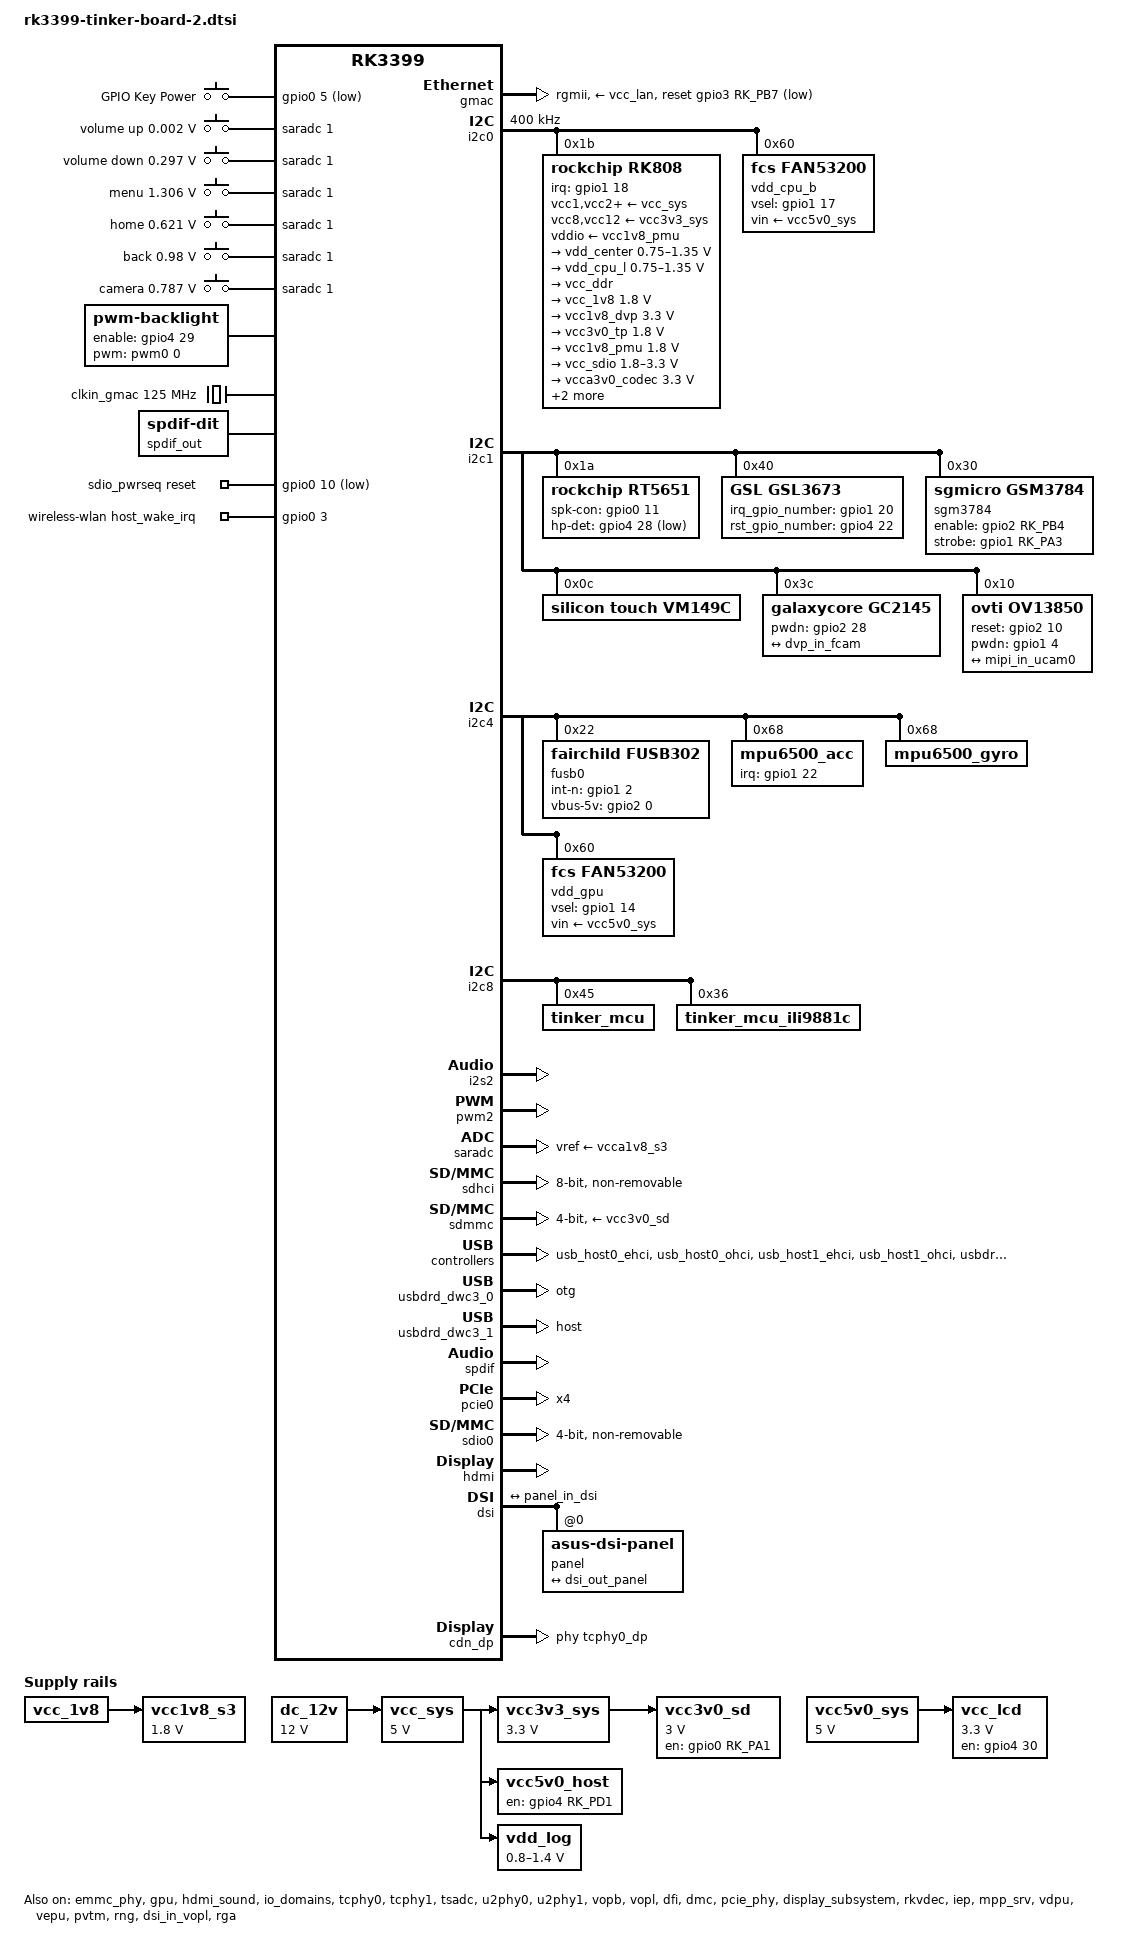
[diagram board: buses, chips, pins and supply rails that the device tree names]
// SPDX-License-Identifier: (GPL-2.0+ OR MIT)
/*
 * Copyright (c) 2017 Fuzhou Rockchip Electronics Co., Ltd.
 */

#include "dt-bindings/pwm/pwm.h"
#include "dt-bindings/input/input.h"
#include <dt-bindings/sensor-dev.h>
#include <dt-bindings/display/drm_mipi_dsi.h>
#include <dt-bindings/display/media-bus-format.h>
#include "rk3399.dtsi"
#include "rk3399-opp.dtsi"
#include "rk3399-vop-clk-set.dtsi"

/ {
	compatible = "rockchip,rk3399";

	chosen: chosen {
		bootargs = "earlycon=uart8250,mmio32,0xff1a0000 coherent_pool=1m";
	};

	cpuinfo {
		compatible = "rockchip,cpuinfo";
		nvmem-cells = <&cpu_id>;
		nvmem-cell-names = "id";
	};

	fiq_debugger: fiq-debugger {
		compatible = "rockchip,fiq-debugger";
		rockchip,serial-id = <2>;
		rockchip,wake-irq = <0>;
		rockchip,irq-mode-enable = <0>;  /* If enable uart uses irq instead of fiq */
		rockchip,baudrate = <115200>;  /* Only 115200 and 1500000 */
		pinctrl-names = "default";
		pinctrl-0 = <&uart2c_xfer>;
		interrupts = <GIC_SPI 150 IRQ_TYPE_LEVEL_HIGH 0>;
	};

	reserved-memory {
		#address-cells = <2>;
		#size-cells = <2>;
		ranges;

		drm_logo: drm-logo@00000000 {
			compatible = "rockchip,drm-logo";
			reg = <0x0 0x0 0x0 0x0>;
		};

		ramoops: ramoops@110000 {
			compatible = "ramoops";
			reg = <0x0 0x110000 0x0 0xf0000>;
			record-size = <0x20000>;
			console-size = <0x80000>;
			ftrace-size = <0x00000>;
			pmsg-size = <0x50000>;
		};

		secure_memory: secure-memory@20000000 {
			compatible = "rockchip,secure-memory";
			reg = <0x0 0x20000000 0x0 0x10000000>;
			status = "disabled";
		};

		stb_devinfo: stb-devinfo@00000000 {
			compatible = "rockchip,stb-devinfo";
			reg = <0x0 0x0 0x0 0x0>;
		};
	};

	gpio_keys: gpio-keys {
		compatible = "gpio-keys";
		autorepeat;
		pinctrl-names = "default";
		pinctrl-0 = <&pwrbtn>;

		power {
			debounce-interval = <100>;
			gpios = <&gpio0 5 GPIO_ACTIVE_LOW>;
			label = "GPIO Key Power";
			linux,code = <KEY_POWER>;
			wakeup-source;
		};
	};

	rga: rga@ff680000 {
		compatible = "rockchip,rga2";
		dev_mode = <1>;
		reg = <0x0 0xff680000 0x0 0x1000>;
		interrupts = <GIC_SPI 55 IRQ_TYPE_LEVEL_HIGH 0>;
		clocks = <&cru ACLK_RGA>, <&cru HCLK_RGA>, <&cru SCLK_RGA_CORE>;
		clock-names = "aclk_rga", "hclk_rga", "clk_rga";
		power-domains = <&power RK3399_PD_RGA>;
		status = "okay";
	};

	hdmi_dp_sound: hdmi-dp-sound {
		status = "disabled";
		compatible = "rockchip,rk3399-hdmi-dp";
		rockchip,cpu = <&i2s2>;
		rockchip,codec = <&hdmi>, <&cdn_dp>;
	};

	firmware {
		firmware_android: android {};
	};

	adc_keys: adc-keys {
		compatible = "adc-keys";
		io-channels = <&saradc 1>;
		io-channel-names = "buttons";
		keyup-threshold-microvolt = <1800000>;
		poll-interval = <100>;

		vol-up-key {
			label = "volume up";
			linux,code = <KEY_VOLUMEUP>;
			press-threshold-microvolt = <1750>;
		};

		vol-down-key {
			label = "volume down";
			linux,code = <KEY_VOLUMEDOWN>;
			press-threshold-microvolt = <297500>;
		};

		menu-key {
			label = "menu";
			linux,code = <KEY_MENU>;
			press-threshold-microvolt = <1305500>;
		};

		home-key {
			label = "home";
			linux,code = <KEY_HOME>;
			press-threshold-microvolt = <621250>;
		};

		back-key {
			label = "back";
			linux,code = <KEY_BACK>;
			press-threshold-microvolt = <980000>;
		};

		camera-key {
			label = "camera";
			linux,code = <KEY_CAMERA>;
			press-threshold-microvolt = <787500>;
		};
	};

	backlight: backlight {
		compatible = "pwm-backlight";
		status = "disabled";
		brightness-levels = <
			  0   1   2   3   4   5   6   7
			  8   9  10  11  12  13  14  15
			 16  17  18  19  20  21  22  23
			 24  25  26  27  28  29  30  31
			 32  33  34  35  36  37  38  39
			 40  41  42  43  44  45  46  47
			 48  49  50  51  52  53  54  55
			 56  57  58  59  60  61  62  63
			 64  65  66  67  68  69  70  71
			 72  73  74  75  76  77  78  79
			 80  81  82  83  84  85  86  87
			 88  89  90  91  92  93  94  95
			 96  97  98  99 100 101 102 103
			104 105 106 107 108 109 110 111
			112 113 114 115 116 117 118 119
			120 121 122 123 124 125 126 127
			128 129 130 131 132 133 134 135
			136 137 138 139 140 141 142 143
			144 145 146 147 148 149 150 151
			152 153 154 155 156 157 158 159
			160 161 162 163 164 165 166 167
			168 169 170 171 172 173 174 175
			176 177 178 179 180 181 182 183
			184 185 186 187 188 189 190 191
			192 193 194 195 196 197 198 199
			200 201 202 203 204 205 206 207
			208 209 210 211 212 213 214 215
			216 217 218 219 220 221 222 223
			224 225 226 227 228 229 230 231
			232 233 234 235 236 237 238 239
			240 241 242 243 244 245 246 247
			248 249 250 251 252 253 254 255>;
		default-brightness-level = <200>;
		pwms = <&pwm0 0 25000 0>;
	};

	clkin_gmac: external-gmac-clock {
		compatible = "fixed-clock";
		clock-frequency = <125000000>;
		clock-output-names = "clkin_gmac";
		#clock-cells = <0>;
	};

	dc_12v: dc-12v {
		compatible = "regulator-fixed";
		regulator-name = "dc_12v";
		regulator-always-on;
		regulator-boot-on;
		regulator-min-microvolt = <12000000>;
		regulator-max-microvolt = <12000000>;
	};

	dp_sound: dp-sound {
		status = "disabled";
		compatible = "rockchip,cdndp-sound";
		rockchip,cpu = <&spdif>;
		rockchip,codec = <&cdn_dp 1>;
	};

	/* switched by pmic_sleep */
	vcc1v8_s3: vcca1v8_s3: vcc1v8-s3 {
		compatible = "regulator-fixed";
		regulator-name = "vcc1v8_s3";
		regulator-always-on;
		regulator-boot-on;
		regulator-min-microvolt = <1800000>;
		regulator-max-microvolt = <1800000>;
		vin-supply = <&vcc_1v8>;
	};

	vcc3v0_sd: vcc3v0-sd {
		compatible = "regulator-fixed";
		enable-active-high;
		gpio = <&gpio0 RK_PA1 GPIO_ACTIVE_HIGH>;
		pinctrl-names = "default";
		pinctrl-0 = <&sdmmc0_pwr_h>;
		regulator-always-on;
		regulator-max-microvolt = <3000000>;
		regulator-min-microvolt = <3000000>;
		regulator-name = "vcc3v0_sd";
		vin-supply = <&vcc3v3_sys>;
	};

	vcc3v3_sys: vcc3v3-sys {
		compatible = "regulator-fixed";
		regulator-name = "vcc3v3_sys";
		regulator-always-on;
		regulator-boot-on;
		regulator-min-microvolt = <3300000>;
		regulator-max-microvolt = <3300000>;
		vin-supply = <&vcc_sys>;
	};

	vcc_sys: vcc-sys {
		compatible = "regulator-fixed";
		regulator-name = "vcc_sys";
		regulator-always-on;
		regulator-boot-on;
		regulator-min-microvolt = <5000000>;
		regulator-max-microvolt = <5000000>;
		vin-supply = <&dc_12v>;
	};

	vcc5v0_host: vcc5v0-host-regulator {
		compatible = "regulator-fixed";
		enable-active-high;
		gpio = <&gpio4 RK_PD1 GPIO_ACTIVE_HIGH>;
		pinctrl-names = "default";
		pinctrl-0 = <&vcc5v0_host_en>;
		regulator-name = "vcc5v0_host";
		regulator-always-on;
		vin-supply = <&vcc_sys>;
	};

	vcc5v0_sys: vcc5v0-sys {
		compatible = "regulator-fixed";
		regulator-name = "vcc5v0_sys";
		regulator-always-on;
		regulator-boot-on;
		regulator-min-microvolt = <5000000>;
		regulator-max-microvolt = <5000000>;
	};

	vdd_log: vdd-log {
		compatible = "pwm-regulator";
		pwms = <&pwm2 0 25000 1>;
		regulator-name = "vdd_log";
		regulator-always-on;
		regulator-boot-on;
		regulator-min-microvolt = <800000>;
		regulator-max-microvolt = <1400000>;
		vin-supply = <&vcc_sys>;
	};

	rt5651_sound: rt5651-sound {
		compatible = "simple-audio-card";
		simple-audio-card,format = "i2s";
		simple-audio-card,name = "realtek,rt5651-codec";
		simple-audio-card,mclk-fs = <256>;
		simple-audio-card,widgets =
			"Microphone", "Mic Jack",
			"Headphone", "Headphone Jack";
		simple-audio-card,routing =
			"Mic Jack", "MICBIAS1",
			"IN1P", "Mic Jack",
			"Headphone Jack", "HPOL",
			"Headphone Jack", "HPOR";
		simple-audio-card,cpu {
			sound-dai = <&i2s0>;
		};
		simple-audio-card,codec {
			sound-dai = <&rt5651>;
		};
	};

	spdif-sound {
		status = "okay";
		compatible = "simple-audio-card";
		simple-audio-card,name = "ROCKCHIP,SPDIF";
		simple-audio-card,cpu {
			sound-dai = <&spdif>;
		};
		simple-audio-card,codec {
			sound-dai = <&spdif_out>;
		};
	};

	spdif_out: spdif-out {
		status = "okay";
		compatible = "linux,spdif-dit";
		#sound-dai-cells = <0>;
	};

	sdio_pwrseq: sdio-pwrseq {
		compatible = "mmc-pwrseq-simple";
		clocks = <&rk808 1>;
		clock-names = "ext_clock";
		pinctrl-names = "default";
		pinctrl-0 = <&wifi_enable_h>;

		/*
		 * On the module itself this is one of these (depending
		 * on the actual card populated):
		 * - SDIO_RESET_L_WL_REG_ON
		 * - PDN (power down when low)
		 */
		reset-gpios = <&gpio0 10 GPIO_ACTIVE_LOW>; /* GPIO0_B2 */
	};

	wireless-wlan {
		compatible = "wlan-platdata";
		rockchip,grf = <&grf>;
		wifi_chip_type = "ap6354";
		sdio_vref = <1800>;
		WIFI,host_wake_irq = <&gpio0 3 GPIO_ACTIVE_HIGH>; /* GPIO0_a3 */
		status = "okay";
	};

	wireless-bluetooth {
		compatible = "bluetooth-platdata";
		clocks = <&rk808 1>;
		clock-names = "ext_clock";
		//wifi-bt-power-toggle;
		pinctrl-names = "default", "rts_gpio";
		pinctrl-0 = <&uart0_rts>, <&bt_reset_gpio>, <&bt_wake_gpio>, <&bt_irq_gpio>;
		//BT,power_gpio  = <&gpio3 19 GPIO_ACTIVE_HIGH>; /* GPIOx_xx */
		BT,reset_gpio    = <&gpio0 9 GPIO_ACTIVE_HIGH>; /* GPIO0_B1 */
		BT,wake_gpio     = <&gpio2 26 GPIO_ACTIVE_HIGH>; /* GPIO2_D2 */
		BT,wake_host_irq = <&gpio0 4 GPIO_ACTIVE_HIGH>; /* GPIO0_A4 */
		status = "disabled";
	};

	vcc_lcd: vcc-lcd {
		compatible = "regulator-fixed";
		regulator-name = "vcc_lcd";
		gpio = <&gpio4 30 GPIO_ACTIVE_HIGH>;
		startup-delay-us = <20000>;
		enable-active-high;
		regulator-min-microvolt = <3300000>;
		regulator-max-microvolt = <3300000>;
		regulator-boot-on;
		vin-supply = <&vcc5v0_sys>;
	};

	panel: panel {
		compatible = "simple-panel";
		status = "disabled";
		backlight = <&backlight>;
		power-supply = <&vcc_lcd>;
		enable-gpios = <&gpio1 13 GPIO_ACTIVE_HIGH>;
		prepare-delay-ms = <20>;
		enable-delay-ms = <20>;

		display-timings {
			native-mode = <&timing0>;

			timing0: timing0 {
				clock-frequency = <200000000>;
				hactive = <1536>;
				vactive = <2048>;
				hfront-porch = <12>;
				hsync-len = <16>;
				hback-porch = <48>;
				vfront-porch = <8>;
				vsync-len = <4>;
				vback-porch = <8>;
				hsync-active = <0>;
				vsync-active = <0>;
				de-active = <0>;
				pixelclk-active = <0>;
			};
		};

		ports {
			panel_in: endpoint {
				remote-endpoint = <&edp_out>;
			};
		};
	};

	test-power {
		status = "okay";
	};

	hdmiin_sound: hdmiin-sound {
		compatible = "rockchip,rockchip-rt5651-sound";
		rockchip,cpu = <&i2s0>;
		rockchip,codec = <&rt5651 &rt5651>;
		status = "okay";
	};
};

&cpu_l0 {
	cpu-supply = <&vdd_cpu_l>;
};

&cpu_l1 {
	cpu-supply = <&vdd_cpu_l>;
};

&cpu_l2 {
	cpu-supply = <&vdd_cpu_l>;
};

&cpu_l3 {
	cpu-supply = <&vdd_cpu_l>;
};

&cpu_b0 {
	cpu-supply = <&vdd_cpu_b>;
};

&cpu_b1 {
	cpu-supply = <&vdd_cpu_b>;
};

&emmc_phy {
	status = "okay";
};

&gmac {
	assigned-clocks = <&cru SCLK_RMII_SRC>;
	assigned-clock-parents = <&cru SCLK_MAC>;
	assigned-clock-rates = <125000000>;
	clock_in_out = "output";
	phy-supply = <&vcc_lan>;
	phy-mode = "rgmii";
	pinctrl-names = "default";
	pinctrl-0 = <&rgmii_pins>;
	snps,reset-gpio = <&gpio3 RK_PB7 GPIO_ACTIVE_LOW>;
	snps,reset-active-low;
	snps,reset-delays-us = <0 10000 50000>;
	tx_delay = <0x28>;
	rx_delay = <0x11>;
	status = "okay";
};

&gpu {
	mali-supply = <&vdd_gpu>;
	status = "okay";
};

&hdmi_sound {
	status = "okay";
};

&i2c0 {
	clock-frequency = <400000>;
	i2c-scl-rising-time-ns = <168>;
	i2c-scl-falling-time-ns = <4>;
	status = "okay";

	rk808: pmic@1b {
		compatible = "rockchip,rk808";
		reg = <0x1b>;
		interrupt-parent = <&gpio1>;
		interrupts = <18 IRQ_TYPE_LEVEL_LOW>;
		#clock-cells = <1>;
		clock-output-names = "xin32k", "rk808-clkout2";
		pinctrl-names = "default";
		pinctrl-0 = <&pmic_int_l &pmic_dvs2>;
		rockchip,system-power-controller;
		wakeup-source;

		vcc1-supply = <&vcc_sys>;
		vcc2-supply = <&vcc_sys>;
		vcc3-supply = <&vcc_sys>;
		vcc4-supply = <&vcc_sys>;
		vcc6-supply = <&vcc_sys>;
		vcc7-supply = <&vcc_sys>;
		vcc8-supply = <&vcc3v3_sys>;
		vcc9-supply = <&vcc_sys>;
		vcc10-supply = <&vcc_sys>;
		vcc11-supply = <&vcc_sys>;
		vcc12-supply = <&vcc3v3_sys>;
		vddio-supply = <&vcc1v8_pmu>;

		regulators {
			vdd_center: DCDC_REG1 {
				regulator-name = "vdd_center";
				regulator-always-on;
				regulator-boot-on;
				regulator-min-microvolt = <750000>;
				regulator-max-microvolt = <1350000>;
				regulator-ramp-delay = <6001>;
				regulator-state-mem {
					regulator-off-in-suspend;
				};
			};

			vdd_cpu_l: DCDC_REG2 {
				regulator-name = "vdd_cpu_l";
				regulator-always-on;
				regulator-boot-on;
				regulator-min-microvolt = <750000>;
				regulator-max-microvolt = <1350000>;
				regulator-ramp-delay = <6001>;
				regulator-state-mem {
					regulator-off-in-suspend;
				};
			};

			vcc_ddr: DCDC_REG3 {
				regulator-name = "vcc_ddr";
				regulator-always-on;
				regulator-boot-on;
				regulator-state-mem {
					regulator-on-in-suspend;
				};
			};

			vcc_1v8: DCDC_REG4 {
				regulator-name = "vcc_1v8";
				regulator-always-on;
				regulator-boot-on;
				regulator-min-microvolt = <1800000>;
				regulator-max-microvolt = <1800000>;
				regulator-state-mem {
					regulator-on-in-suspend;
					regulator-suspend-microvolt = <1800000>;
				};
			};

			vcc1v8_dvp: LDO_REG1 {
				regulator-name = "vcc1v8_dvp";
				regulator-always-on;
				regulator-boot-on;
				regulator-min-microvolt = <3300000>;
				regulator-max-microvolt = <3300000>;
				regulator-state-mem {
					regulator-off-in-suspend;
				};
			};

			vcc3v0_tp: LDO_REG2 {
				regulator-name = "vcc3v0_tp";
				regulator-always-on;
				regulator-boot-on;
				regulator-min-microvolt = <1800000>;
				regulator-max-microvolt = <1800000>;
				regulator-state-mem {
					regulator-off-in-suspend;
				};
			};

			vcc1v8_pmu: LDO_REG3 {
				regulator-name = "vcc1v8_pmu";
				regulator-always-on;
				regulator-boot-on;
				regulator-min-microvolt = <1800000>;
				regulator-max-microvolt = <1800000>;
				regulator-state-mem {
					regulator-on-in-suspend;
					regulator-suspend-microvolt = <1800000>;
				};
			};

			vcc_sdio: LDO_REG4 {
				regulator-name = "vcc_sdio";
				regulator-always-on;
				regulator-boot-on;
				regulator-min-microvolt = <1800000>;
				regulator-max-microvolt = <3300000>;
				regulator-state-mem {
					regulator-on-in-suspend;
					regulator-suspend-microvolt = <3000000>;
				};
			};

			vcca3v0_codec: LDO_REG5 {
				regulator-name = "vcca3v0_codec";
				regulator-always-on;
				regulator-boot-on;
				regulator-min-microvolt = <3300000>;
				regulator-max-microvolt = <3300000>;
				regulator-state-mem {
					regulator-off-in-suspend;
				};
			};

			vcc_1v5: LDO_REG6 {
				regulator-name = "vcc_1v5";
				regulator-always-on;
				regulator-boot-on;
				regulator-min-microvolt = <1500000>;
				regulator-max-microvolt = <1500000>;
				regulator-state-mem {
					regulator-on-in-suspend;
					regulator-suspend-microvolt = <1500000>;
				};
			};

			vcca1v8_codec: LDO_REG7 {
				regulator-name = "vcca1v8_codec";
				regulator-always-on;
				regulator-boot-on;
				regulator-min-microvolt = <900000>;
				regulator-max-microvolt = <900000>;
				regulator-state-mem {
					regulator-off-in-suspend;
				};
			};

			vcc_3v0: LDO_REG8 {
				regulator-name = "vcc_3v0";
				regulator-always-on;
				regulator-boot-on;
				regulator-min-microvolt = <3000000>;
				regulator-max-microvolt = <3000000>;
				regulator-state-mem {
					regulator-on-in-suspend;
					regulator-suspend-microvolt = <3000000>;
				};
			};

			vcc3v3_s3: vcc_lan: SWITCH_REG1 {
				regulator-name = "vcc3v3_s3";
				regulator-always-on;
				regulator-boot-on;
				regulator-state-mem {
					regulator-off-in-suspend;
				};
			};

			vcc3v3_s0: SWITCH_REG2 {
				regulator-name = "vcc3v3_s0";
				regulator-always-on;
				regulator-boot-on;
				regulator-state-mem {
					regulator-off-in-suspend;
				};
			};
		};
	};

	vdd_cpu_b: fan53200@60 {
		compatible = "fcs,fan53200";
		reg = <0x60>;
		vin-supply = <&vcc5v0_sys>;
		regulator-compatible = "fan53200-reg";
		pinctrl-names = "default";
		pinctrl-0 = <&vsel1_gpio>;
		vsel-gpios = <&gpio1 17 GPIO_ACTIVE_HIGH>;
		regulator-name = "vdd_cpu_b";
		regulator-min-microvolt = <800000>;
		regulator-max-microvolt = <1250000>;
		regulator-ramp-delay = <1000>;
		fcs,suspend-voltage-selector = <1>;
		regulator-always-on;
		regulator-boot-on;
		regulator-initial-state = <3>;
			regulator-state-mem {
			regulator-off-in-suspend;
		};
	};
};

&i2c1 {
	status = "okay";
	i2c-scl-rising-time-ns = <300>;
	i2c-scl-falling-time-ns = <15>;

	rt5651: rt5651@1a {
		#sound-dai-cells = <0>;
		compatible = "rockchip,rt5651";
		reg = <0x1a>;
		clocks = <&cru SCLK_I2S_8CH_OUT>;
		clock-names = "mclk";
		pinctrl-names = "default";
		pinctrl-0 = <&i2s_8ch_mclk>;
		spk-con-gpio = <&gpio0 11 GPIO_ACTIVE_HIGH>;
		hp-det-gpio = <&gpio4 28 GPIO_ACTIVE_LOW>;
	};

	gsl3673: gsl3673@40 {
		compatible = "GSL,GSL3673";
		reg = <0x40>;
		screen_max_x = <1536>;
		screen_max_y = <2048>;
		irq_gpio_number = <&gpio1 20 IRQ_TYPE_LEVEL_LOW>;
		rst_gpio_number = <&gpio4 22 GPIO_ACTIVE_HIGH>;
	};

	sgm3784: sgm3784@30 {
		#address-cells = <1>;
		#size-cells = <0>;
		compatible = "sgmicro,gsm3784";
		reg = <0x30>;
		rockchip,camera-module-index = <0>;
		rockchip,camera-module-facing = "back";
		enable-gpio = <&gpio2 RK_PB4 GPIO_ACTIVE_HIGH>;
		strobe-gpio = <&gpio1 RK_PA3 GPIO_ACTIVE_HIGH>;
		status = "okay";
		sgm3784_led0: led@0 {
			reg = <0x0>;
			led-max-microamp = <299200>;
			flash-max-microamp = <1122000>;
			flash-max-timeout-us = <1600000>;
		};

		sgm3784_led1: led@1 {
			reg = <0x1>;
			led-max-microamp = <299200>;
			flash-max-microamp = <1122000>;
			flash-max-timeout-us = <1600000>;
		};
	};

	tc358749x: tc358749x@0f {
		compatible = "toshiba,tc358749x";
		reg = <0x0f>;
		power-gpios = <&gpio2 6 GPIO_ACTIVE_HIGH>;
		power18-gpios = <&gpio2 9 GPIO_ACTIVE_HIGH>;
		power33-gpios = <&gpio2 5 GPIO_ACTIVE_HIGH>;
		csi-ctl-gpios = <&gpio2 10 GPIO_ACTIVE_HIGH>;
		stanby-gpios = <&gpio2 8 GPIO_ACTIVE_HIGH>;
		reset-gpios = <&gpio2 7 GPIO_ACTIVE_HIGH>;
		int-gpios = <&gpio2 12 GPIO_ACTIVE_HIGH>;
		pinctrl-names = "default";
		pinctrl-0 = <&hdmiin_gpios>;
		status = "disabled";
	};

	vm149c: vm149c@0c {
		compatible = "silicon touch,vm149c";
		status = "okay";
		reg = <0x0c>;
		rockchip,camera-module-index = <0>;
		rockchip,camera-module-facing = "back";
	};

	gc2145: gc2145@3c{
		status = "okay";
		compatible = "galaxycore,gc2145";
		reg = <0x3c>;
		pinctrl-names = "default";
		pinctrl-0 = <&cif_clkout>;

		clocks = <&cru SCLK_CIF_OUT>;
		clock-names = "xvclk";

		/* avdd-supply = <>; */
		/* dvdd-supply = <>; */
		/* dovdd-supply = <>; */
		pwdn-gpios = <&gpio2 28 GPIO_ACTIVE_HIGH>;	//ok
		rockchip,camera-module-index = <1>;
		rockchip,camera-module-facing = "front";
		rockchip,camera-module-name = "CameraKing";
		rockchip,camera-module-lens-name = "Largan";
		port {
			gc2145_out: endpoint {
				remote-endpoint = <&dvp_in_fcam>;
			};
		};
	};

	vm149c: vm149c@0c {
		compatible = "silicon touch,vm149c";
		status = "okay";
		reg = <0x0c>;
		rockchip,camera-module-index = <0>;
		rockchip,camera-module-facing = "back";
	};

	ov13850: ov13850@10 {
		compatible = "ovti,ov13850";
		status = "okay";
		reg = <0x10>;
		clocks = <&cru SCLK_CIF_OUT>;
		clock-names = "xvclk";
		/* avdd-supply = <>; */
		/* dvdd-supply = <>; */
		/* dovdd-supply = <>; */
		/* reset-gpios = <>; */
		reset-gpios = <&gpio2 10 GPIO_ACTIVE_HIGH>; // conflict with csi-ctl-gpios
		pwdn-gpios = <&gpio1 4 GPIO_ACTIVE_HIGH>;
		pinctrl-names = "rockchip,camera_default";
		pinctrl-0 = <&cif_clkout>;

		rockchip,camera-module-index = <0>;
		rockchip,camera-module-facing = "back";
		rockchip,camera-module-name = "CMK-CT0116";
		rockchip,camera-module-lens-name = "Largan-50013A1";
		lens-focus = <&vm149c>;
		flash-leds = <&sgm3784_led0 &sgm3784_led1>;

		port {
			ucam_out0: endpoint {
				remote-endpoint = <&mipi_in_ucam0>;
				//remote-endpoint = <&mipi_in_ucam1>;
				data-lanes = <1 2>;
			};
		};
	};

	ov4689: ov4689@36 {
		compatible = "ovti,ov4689";
		status = "disabled";
		reg = <0x36>;
		clocks = <&cru SCLK_CIF_OUT>;
		clock-names = "xvclk";
		/* avdd-supply = <>; */
		/* dvdd-supply = <>; */
		/* dovdd-supply = <>; */
		/* reset-gpios = <>; */
		pwdn-gpios = <&gpio4 29 GPIO_ACTIVE_HIGH>; // conflict with backlight
		pinctrl-names = "rockchip,camera_default";
		pinctrl-0 = <&cif_clkout>;
		rockchip,camera-module-index = <1>;
		rockchip,camera-module-facing = "front";
		rockchip,camera-module-name = "JSD3425-C1";
		rockchip,camera-module-lens-name = "JSD3425-C1";
		port {
			ucam_out1: endpoint {
				//remote-endpoint = <&mipi_in_ucam0>;
				remote-endpoint = <&mipi_in_ucam1>;
				data-lanes = <1 2>;
			};
		};
	};
};

&i2c4 {
	status = "okay";
	i2c-scl-rising-time-ns = <475>;
	i2c-scl-falling-time-ns = <26>;

	fusb0: fusb30x@22 {
		compatible = "fairchild,fusb302";
		reg = <0x22>;
		pinctrl-names = "default";
		pinctrl-0 = <&fusb0_int>;
		int-n-gpios = <&gpio1 2 GPIO_ACTIVE_HIGH>;
		vbus-5v-gpios = <&gpio2 0 GPIO_ACTIVE_HIGH>;
		status = "okay";
	};

	mpu6500@68 {
		status = "disabled";
		compatible = "invensense,mpu6500";
		reg = <0x68>;
		irq-gpio = <&gpio1 22 IRQ_TYPE_EDGE_RISING>;
		mpu-int_config = <0x10>;
		mpu-level_shifter = <0>;
		mpu-orientation = <0 1 0 1 0 0 0 0 1>;
		orientation-x= <1>;
		orientation-y= <0>;
		orientation-z= <0>;
		mpu-debug = <1>;
	};

	mpu6500_acc: mpu_acc@68 {
		compatible = "mpu6500_acc";
		reg = <0x68>;
		irq-gpio = <&gpio1 22 IRQ_TYPE_EDGE_RISING>;
		irq_enable = <0>;
		poll_delay_ms = <30>;
		type = <SENSOR_TYPE_ACCEL>;
		layout = <2>;
	};

	mpu6500_gyro: mpu_gyro@68 {
		compatible = "mpu6500_gyro";
		reg = <0x68>;
		irq_enable = <0>;
		poll_delay_ms = <30>;
		type = <SENSOR_TYPE_GYROSCOPE>;
		layout = <2>;
	};

	vdd_gpu: fan53200@60 {
		compatible = "fcs,fan53200";
		reg = <0x60>;
		vin-supply = <&vcc5v0_sys>;
		regulator-compatible = "fan53200-reg";
		pinctrl-names = "default";
		pinctrl-0 = <&vsel2_gpio>;
		vsel-gpios = <&gpio1 14 GPIO_ACTIVE_HIGH>;
		regulator-name = "vdd_gpu";
		regulator-min-microvolt = <800000>;
		regulator-max-microvolt = <1200000>;
		regulator-ramp-delay = <1000>;
		fcs,suspend-voltage-selector = <1>;
		regulator-always-on;
		regulator-boot-on;
		regulator-initial-state = <3>;
			regulator-state-mem {
			regulator-off-in-suspend;
		};
	};
};

&i2c6 {
	cw2015@62 {
		status = "disabled";
		compatible = "cw201x";
		reg = <0x62>;
		bat_config_info = <0x15 0x42 0x60 0x59 0x52 0x58 0x4D 0x48
				   0x48 0x44 0x44 0x46 0x49 0x48 0x32 0x24
				   0x20 0x17 0x13 0x0F 0x19 0x3E 0x51 0x45
				   0x08 0x76 0x0B 0x85 0x0E 0x1C 0x2E 0x3E
				   0x4D 0x52 0x52 0x57 0x3D 0x1B 0x6A 0x2D
				   0x25 0x43 0x52 0x87 0x8F 0x91 0x94 0x52
				   0x82 0x8C 0x92 0x96 0xFF 0x7B 0xBB 0xCB
				   0x2F 0x7D 0x72 0xA5 0xB5 0xC1 0x46 0xAE>;
		monitor_sec = <5>;
		virtual_power = <0>;
	};
};

&i2c8 {
	status = "okay";

	tinker_mcu: tinker_mcu@45 {
		compatible = "tinker_mcu";
		reg = <0x45>;
	};

	tinker_mcu_ili9881c: tinker_mcu_ili9881c@36 {
		compatible = "tinker_mcu_ili9881c";
		reg = <0x36>;
	};
};

&i2s2 {
	status = "okay";
};

&io_domains {
	status = "okay";

	bt656-supply = <&vcc_3v0>;
	audio-supply = <&vcc_3v0>;
	sdmmc-supply = <&vcc_sdio>;
	gpio1830-supply = <&vcc_3v0>;
};

&pmu_io_domains {
	pmu1830-supply = <&vcc_1v5>;
	status = "okay";
};

&pwm0 {
	status = "disabled";
};

&pwm2 {
	status = "okay";
	pinctrl-names = "active";
	pinctrl-0 = <&pwm2_pin_pull_down>;
};

&saradc {
	vref-supply = <&vcca1v8_s3>;
	status = "okay";
};

&sdhci {
	bus-width = <8>;
	mmc-hs400-1_8v;
	mmc-hs400-enhanced-strobe;
	non-removable;
	supports-emmc;
	status = "okay";
};

&sdmmc {
	broken-cd;
	bus-width = <4>;
	cap-mmc-highspeed;
	cap-sd-highspeed;
	supports-sd;
	clock-frequency = <150000000>;
	disable-wp;
	sd-uhs-sdr104;
	max-frequency = <150000000>;
	pinctrl-names = "default";
	pinctrl-0 = <&sdmmc_clk &sdmmc_cmd &sdmmc_cd &sdmmc_bus4>;
	vmmc-supply = <&vcc3v0_sd>;
	vqmmc-supply = <&vcc_sdio>;
	status = "okay";
};

&tcphy0 {
	extcon = <&fusb0>;
	status = "okay";
};

&tcphy1 {
	status = "okay";
};

&tsadc {
	/* tshut mode 0:CRU 1:GPIO */
	rockchip,hw-tshut-mode = <1>;
	/* tshut polarity 0:LOW 1:HIGH */
	rockchip,hw-tshut-polarity = <1>;
	status = "okay";
};

&u2phy0 {
	status = "okay";
	extcon = <&fusb0>;

	u2phy0_otg: otg-port {
		status = "okay";
	};

	u2phy0_host: host-port {
		phy-supply = <&vcc5v0_host>;
		status = "okay";
	};
};

&u2phy1 {
	status = "okay";

	u2phy1_otg: otg-port {
		status = "okay";
	};

	u2phy1_host: host-port {
		phy-supply = <&vcc5v0_host>;
		status = "okay";
	};
};

&uart0 {
	pinctrl-names = "default";
	pinctrl-0 = <&uart0_xfer &uart0_cts>;
	status = "okay";
};

&uart2 {
	status = "disabled";
};

&usb_host0_ehci {
	status = "okay";
};

&usb_host0_ohci {
	status = "okay";
};

&usb_host1_ehci {
	status = "okay";
};

&usb_host1_ohci {
	status = "okay";
};

&usbdrd3_0 {
	status = "okay";
};

&usbdrd_dwc3_0 {
	status = "okay";
	dr_mode = "otg";
	extcon = <&fusb0>;
};

&usbdrd3_1 {
	status = "okay";
};

&usbdrd_dwc3_1 {
	status = "okay";
	dr_mode = "host";
};

&pinctrl {
        pinctrl-names = "default";
        pinctrl-0 = <&gpio_init>;

        gpio_init_config {
                gpio_init: gpio_init {
                        rockchip,pins =
                                <1 7 0 &pcfg_pull_none>,
                                <1 8 0 &pcfg_pull_none>,
                                <1 9 0 &pcfg_pull_none>,
                                <1 10 0 &pcfg_pull_none>,
                                <2 19 0 &pcfg_pull_none>;
                };
        };
};

&vopb {
	status = "okay";
	assigned-clocks = <&cru DCLK_VOP0_DIV>;
	assigned-clock-parents = <&cru PLL_CPLL>;
	support-multi-area;
};

&vopb_mmu {
	status = "okay";
};

&vopl {
	status = "okay";
	assigned-clocks = <&cru DCLK_VOP1_DIV>;
	assigned-clock-parents = <&cru PLL_VPLL>;
	support-multi-area;
};

&vopl_mmu {
	status = "okay";
};

&dfi {
	status = "okay";
};

&dmc {
	status = "okay";
	center-supply = <&vdd_center>;
	upthreshold = <40>;
	downdifferential = <20>;
	system-status-freq = <
		/*system status         freq(KHz)*/
		SYS_STATUS_NORMAL       800000
		SYS_STATUS_REBOOT       528000
		SYS_STATUS_SUSPEND      200000
		SYS_STATUS_VIDEO_1080P  200000
		SYS_STATUS_VIDEO_4K     600000
		SYS_STATUS_VIDEO_4K_10B 800000
		SYS_STATUS_PERFORMANCE  800000
		SYS_STATUS_BOOST        600000
		SYS_STATUS_DUALVIEW     600000
		SYS_STATUS_ISP          600000
	>;
	vop-bw-dmc-freq = <
	/* min_bw(MB/s) max_bw(MB/s) freq(KHz) */
		0       762      200000
		763     1893     400000
		1894    3012     528000
		3013    99999    800000
	>;
	auto-freq-en = <1>;
	auto-min-freq = <200000>;
};

&spdif {
	status = "okay";
	pinctrl-0 = <&spdif_bus>;
	i2c-scl-rising-time-ns = <450>;
	i2c-scl-falling-time-ns = <15>;
	#sound-dai-cells = <0>;
};

&i2s0 {
	status = "disabled";
	rockchip,playback-channels = <8>;
	rockchip,capture-channels = <8>;
	#sound-dai-cells = <0>;
};

&i2s2 {
	status = "okay";
	#sound-dai-cells = <0>;
	rockchip,bclk-fs = <128>;
};

&pcie0 {
	status = "okay";
	ep-gpios = <&gpio2 4 GPIO_ACTIVE_HIGH>;
	num-lanes = <4>;
	pinctrl-names = "default";
	pinctrl-0 = <&pcie_clkreqn_cpm>;
};

&pcie_phy {
	status = "okay";
};

&sdio0 {
	max-frequency = <100000000>;
	supports-sdio;
	bus-width = <4>;
	disable-wp;
	cap-sd-highspeed;
	cap-sdio-irq;
	keep-power-in-suspend;
	mmc-pwrseq = <&sdio_pwrseq>;
	non-removable;
	num-slots = <1>;
	pinctrl-names = "default";
	sd-uhs-sdr104;
	status = "okay";
};

&rockchip_suspend {
	status = "okay";
	rockchip,sleep-debug-en = <1>;
	rockchip,sleep-mode-config = <
		(0
		| RKPM_SLP_ARMPD
		| RKPM_SLP_PERILPPD
		| RKPM_SLP_DDR_RET
		| RKPM_SLP_PLLPD
		| RKPM_SLP_CENTER_PD
		| RKPM_SLP_AP_PWROFF
		)
		>;
	rockchip,wakeup-config = <
		(0
		| RKPM_GPIO_WKUP_EN
		| RKPM_PWM_WKUP_EN
		)
		>;
		rockchip,pwm-regulator-config = <
		(0
		| PWM2_REGULATOR_EN
		)
		>;
		rockchip,power-ctrl =
		<&gpio1 17 GPIO_ACTIVE_HIGH>,
		<&gpio1 14 GPIO_ACTIVE_HIGH>;
};

&hdmi {
	#address-cells = <1>;
	#size-cells = <0>;
	#sound-dai-cells = <0>;
	ddc-i2c-scl-high-time-ns = <9625>;
	ddc-i2c-scl-low-time-ns = <10000>;
	status = "okay";
};

&display_subsystem {
	status = "okay";

	ports = <&vopb_out>, <&vopl_out>;
	logo-memory-region = <&drm_logo>;
	secure-memory-region = <&secure_memory>;
	route {
		route_hdmi: route-hdmi {
			status = "disabled";
			logo,uboot = "logo.bmp";
			logo,kernel = "logo_kernel.bmp";
			logo,mode = "center";
			charge_logo,mode = "center";
			connect = <&vopb_out_hdmi>;
		};

		route_dsi: route-dsi {
			status = "disabled";
			logo,uboot = "logo.bmp";
			logo,kernel = "logo_kernel.bmp";
			logo,mode = "center";
			charge_logo,mode = "center";
			connect = <&vopb_out_dsi>;
		};

		route_dsi1: route-dsi1 {
			status = "disabled";
			logo,uboot = "logo.bmp";
			logo,kernel = "logo_kernel.bmp";
			logo,mode = "center";
			charge_logo,mode = "center";
			connect = <&vopl_out_dsi1>;
		};

		route_edp: route-edp {
			status = "disabled";
			logo,uboot = "logo.bmp";
			logo,kernel = "logo_kernel.bmp";
			logo,mode = "center";
			charge_logo,mode = "center";
			connect = <&vopb_out_edp>;
		};
	};
};

&dsi {
	status = "okay";
	panel@0 {
		compatible ="asus-dsi-panel";
		reg = <0>;

		ports {
			#address-cells = <1>;
			#size-cells = <0>;

			port@0 {
				reg = <0>;

				panel_in_dsi: endpoint {
					remote-endpoint = <&dsi_out_panel>;
				};
			};
		};
	};

	ports {
		#address-cells = <1>;
		#size-cells = <0>;

		port@1 {
			reg = <1>;

			dsi_out_panel: endpoint {
				remote-endpoint = <&panel_in_dsi>;
			};
		};
	};
};

&rkvdec {
	status = "okay";
};

&rkvdec_mmu {
	status = "okay";
};

&i2c6 {
	status = "disabled";
};

&i2c7 {
	status = "disabled";
};

&spi1 {
	status = "disabled";
	max-freq = <48000000>; /* spi internal clk, don't modify */
	spi_dev@0 {
		compatible = "rockchip,spidev";
		reg = <0>;
		spi-max-frequency = <48000000>;
		spi-lsb-first;
	};
};

&spi5 {
	status = "disabled";
	max-freq = <48000000>;   //spi internal clk, don't modify
	spi_dev@0 {
		compatible = "rockchip,spidev";
		reg = <0>;   //chip select  0:cs0  1:cs1
		id = <0>;
		spi-max-frequency = <48000000>;   //spi output clock
	};
};

&uart0 {
	status = "disabled";
};

&uart4 {
	status = "disabled";
};

&iep {
	status = "okay";
};

&iep_mmu {
	status = "okay";
};

&mpp_srv {
	status = "okay";
};

&vdpu {
	status = "okay";
};

&vepu {
	status = "okay";
};

&vpu_mmu {
	status = "okay";
};

&pvtm {
	status = "okay";
};

&rng {
	status = "okay";
};

&backlight {
	status = "okay";
	enable-gpios = <&gpio4 29 GPIO_ACTIVE_HIGH>;
};

&edp {
	status = "disabled";
	force-hpd;

	ports {
		port@1 {
			reg = <1>;

			edp_out: endpoint {
				remote-endpoint = <&panel_in>;
			};
		};
	};
};

&edp_in_vopl {
	status = "disabled";
};

&hdmi_in_vopb {
	status = "disabled";
};

&edp_in_vopb {
	status = "disabled";
};

&dsi_in_vopl {
	status = "okay";
};

&dsi_in_vopb {
	status = "disabled";
};

&dsi1 {
	status = "disabled";
};

&dsi1_in_vopl {
	status = "disabled";
};

&dsi1_in_vopb {
	status = "disabled";
};

&vopl {
	status = "okay";
};

&rt5651 {
	status = "okay";
};

&cdn_dp {
	status = "okay";
	extcon = <&fusb0>;
	phys = <&tcphy0_dp>;
};

&hdmi_dp_sound {
	status = "okay";
};

&hdmiin_sound {
	status = "disabled";
};

&dp_in_vopb {
	status = "disabled";
};

&isp0_mmu {
	status = "okay";
};

&isp1_mmu {
	status = "okay";
};

&mipi_dphy_rx0 {
	status = "disabled";

	ports {
		#address-cells = <1>;
		#size-cells = <0>;

		port@0 {
			reg = <0>;
			#address-cells = <1>;
			#size-cells = <0>;

			mipi_in_ucam0: endpoint@1 {
				reg = <1>;
				remote-endpoint = <&ucam_out0>;
				data-lanes = <1 2>;
			};
		};

		port@1 {
			reg = <1>;
			#address-cells = <1>;
			#size-cells = <0>;

			dphy_rx0_out: endpoint@0 {
				reg = <0>;
				remote-endpoint = <&isp0_mipi_in>;
			};
		};
	};
};

&mipi_dphy_tx1rx1 {
	status = "disabled";

	ports {
		#address-cells = <1>;
		#size-cells = <0>;

		port@0 {
			reg = <0>;
			#address-cells = <1>;
			#size-cells = <0>;

			mipi_in_ucam1: endpoint@1 {
				reg = <1>;
				remote-endpoint = <&ucam_out1>;
				data-lanes = <1 2>;
			};
		};

		port@1 {
			reg = <1>;
			#address-cells = <1>;
			#size-cells = <0>;

			dphy_tx1rx1_out: endpoint@0 {
				reg = <0>;
				remote-endpoint = <&isp1_mipi_in>;
			};
		};
	};
};

&rkisp1_0 {
	status = "disabled";

	port {
		#address-cells = <1>;
		#size-cells = <0>;

		isp0_mipi_in: endpoint@0 {
			reg = <0>;
			remote-endpoint = <&dphy_rx0_out>;
		};
	};
};

&rkisp1_1 {
	status = "disabled";

	port {
		#address-cells = <1>;
		#size-cells = <0>;

		isp1_mipi_in: endpoint@0 {
			reg = <0>;
			remote-endpoint = <&dphy_tx1rx1_out>;
		};
		dvp_in_fcam: endpoint@1 {
			reg = <1>;
			remote-endpoint = <&gc2145_out>;
		};
	};
};

&route_edp {
	status = "okay";
};

&route_hdmi {
	status = "okay";
	connect = <&vopl_out_hdmi>;
};

&rt5651_sound {
	status = "okay";
};

&pinctrl {
	fusb30x {
		fusb0_int: fusb0-int {
			rockchip,pins = <1 RK_PA2 RK_FUNC_GPIO &pcfg_pull_up>;
		};
	};

	sdio-pwrseq {
		wifi_enable_h: wifi-enable-h {
			rockchip,pins =
				<0 RK_PB2 RK_FUNC_GPIO &pcfg_pull_none>;
		};
	};

	wireless-bluetooth {
		bt_reset_gpio: bt-reset-gpio {
			rockchip,pins =
				<0 RK_PB1 RK_FUNC_GPIO &pcfg_pull_none>;
		};
		bt_wake_gpio: bt-wake-gpio {
			rockchip,pins =
				<2 RK_PD2 RK_FUNC_GPIO &pcfg_pull_none>;
		};
		bt_irq_gpio: bt-irq-gpio {
			rockchip,pins =
				<0 RK_PA4 RK_FUNC_GPIO &pcfg_pull_down>;
		};
	};

	isp {
		cif_clkout: cif-clkout {
			rockchip,pins =
				/*cif_clkout*/
				<2 RK_PB3 3 &pcfg_pull_none>;
		};

		isp_dvp_d0d7: isp-dvp-d0d7 {
			rockchip,pins =
				/*cif_data0*/
				<2 RK_PA0 3 &pcfg_pull_none>,
				/*cif_data1*/
				<2 RK_PA1 3 &pcfg_pull_none>,
				/*cif_data2*/
				<2 RK_PA2 3 &pcfg_pull_none>,
				/*cif_data3*/
				<2 RK_PA3 3 &pcfg_pull_none>,
				/*cif_data4*/
				<2 RK_PA4 3 &pcfg_pull_none>,
				/*cif_data5*/
				<2 RK_PA5 3 &pcfg_pull_none>,
				/*cif_data6*/
				<2 RK_PA6 3 &pcfg_pull_none>,
				/*cif_data7*/
				<2 RK_PA7 3 &pcfg_pull_none>,
				/*cif_sync*/
				<2 RK_PB0 3 &pcfg_pull_none>,
				/*cif_href*/
				<2 RK_PB1 3 &pcfg_pull_none>,
				/*cif_clkin*/
				<2 RK_PB2 3 &pcfg_pull_none>;
		};
	};

	buttons {
		pwrbtn: pwrbtn {
			rockchip,pins = <0 RK_PA5 RK_FUNC_GPIO &pcfg_pull_up>;
		};
	};

	lcd-panel {
		lcd_panel_reset: lcd-panel-reset {
			rockchip,pins = <4 RK_PD6 RK_FUNC_GPIO &pcfg_pull_up>;
		};
	};

	hdmiin {
		hdmiin_gpios: hdmiin_gpios {
		rockchip,pins =
				<2 RK_PA5 RK_FUNC_GPIO &pcfg_pull_none>,
				<2 RK_PA6 RK_FUNC_GPIO &pcfg_pull_none>,
				<2 RK_PA7 RK_FUNC_GPIO &pcfg_pull_none>,
				<2 RK_PB0 RK_FUNC_GPIO &pcfg_pull_none>,
				<2 RK_PB1 RK_FUNC_GPIO &pcfg_pull_none>,
				<2 RK_PB4 RK_FUNC_GPIO &pcfg_pull_none>;
		};
	};

	pmic {
		pmic_int_l: pmic-int-l {
			rockchip,pins =
				<1 RK_PC2 RK_FUNC_GPIO &pcfg_pull_up>,
				<0 RK_PB1 RK_FUNC_GPIO &pcfg_pull_none>; /* GPIO0_B1 */
		};

		pmic_dvs2: pmic-dvs2 {
			rockchip,pins =
				<1 RK_PC2 RK_FUNC_GPIO &pcfg_pull_down>;
		};

		vsel1_gpio: vsel1-gpio {
			rockchip,pins = <1 RK_PC1 RK_FUNC_GPIO &pcfg_pull_down>;
		};

		vsel2_gpio: vsel2-gpio {
			rockchip,pins = <1 RK_PB6 RK_FUNC_GPIO &pcfg_pull_down>;
		};
	};

	sd {
		sdmmc0_pwr_h: sdmmc0-pwr-h {
			rockchip,pins =
				<0 RK_PA1 RK_FUNC_GPIO &pcfg_pull_none>;
		};
	};

	usb2 {
		vcc5v0_host_en: vcc5v0-host-en {
			rockchip,pins =
				<4 RK_PD1 RK_FUNC_GPIO &pcfg_pull_none>;
		};
	};
};
